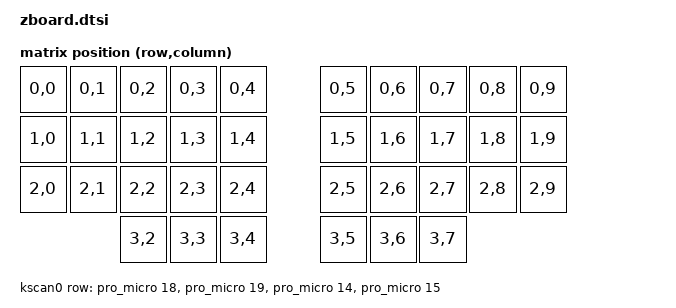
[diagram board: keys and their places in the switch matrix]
/*
 * Copyright (c) 2020 The ZMK Contributors
 *
 * SPDX-License-Identifier: MIT
 */

#include <dt-bindings/zmk/matrix_transform.h>

/ {

	chosen {
		zmk,kscan = &kscan0;
		zmk,matrix_transform = &default_transform;
	};

	default_transform: keymap_transform_0 {
		compatible = "zmk,matrix-transform";
		columns = <10>;
		rows = <4>;
		map = <
		RC(0,0) RC(0,1) RC(0,2) RC(0,3) RC(0,4)  RC(0,5) RC(0,6) RC(0,7) RC(0,8) RC(0,9)
		RC(1,0) RC(1,1) RC(1,2) RC(1,3) RC(1,4)  RC(1,5) RC(1,6) RC(1,7) RC(1,8) RC(1,9)
        RC(2,0) RC(2,1) RC(2,2) RC(2,3) RC(2,4)  RC(2,5) RC(2,6) RC(2,7) RC(2,8) RC(2,9)
                        RC(3,2) RC(3,3) RC(3,4)  RC(3,5) RC(3,6) RC(3,7)
		>;
	};

	kscan0: kscan {
		compatible = "zmk,kscan-gpio-matrix";
		label = "KSCAN";
		diode-direction = "col2row";
		row-gpios
		= <&pro_micro 18 (GPIO_ACTIVE_HIGH | GPIO_PULL_DOWN)>
		, <&pro_micro 19 (GPIO_ACTIVE_HIGH | GPIO_PULL_DOWN)>
		, <&pro_micro 14 (GPIO_ACTIVE_HIGH | GPIO_PULL_DOWN)>
		, <&pro_micro 15 (GPIO_ACTIVE_HIGH | GPIO_PULL_DOWN)>
		;
	};

};

// The PS/2 GPIO and mouse drivers.
/ {
    gpio_ps2: gpio_ps2 {
		status = "disabled";
        compatible = "gpio-ps2";

        // The two bottom left pins of the nice!nano (when it is facing down)
        scl-gpios = <&pro_micro 16 0>;
        sda-gpios = <&pro_micro 10 0>;
    };
};

/ {
    mouse_ps2: mouse_ps2 {
		status = "disabled";
        compatible = "zmk,mouse-ps2";
        ps2-device = <&gpio_ps2>;

        // Uncomment this if you have an extra free pin and
        // want the controller to perform the Power-On-Reset
        // instead of using a reset circuit.
        //
        // The bottom right pin of the nice!nano (when it is facing down)
        //rst-gpios = <&pro_micro 9 0>;
    };
};
